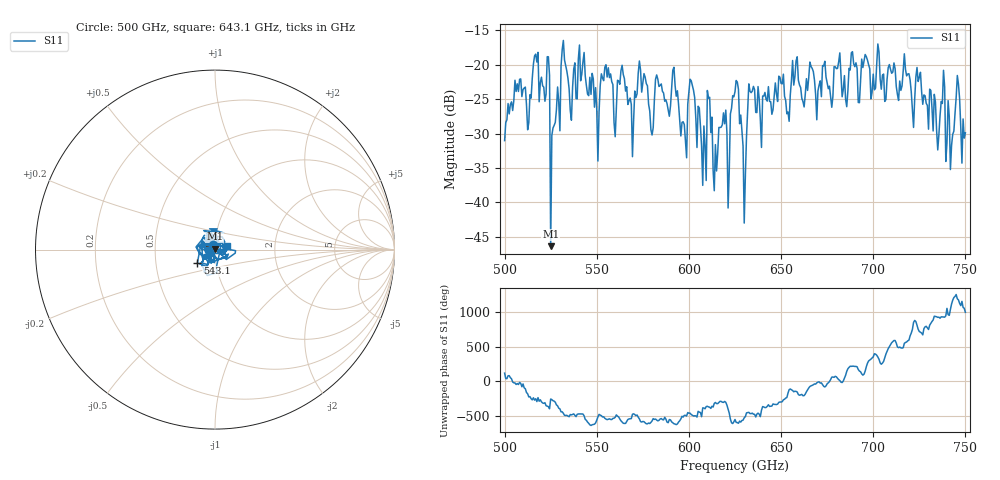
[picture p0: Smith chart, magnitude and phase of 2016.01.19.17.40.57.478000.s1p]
!Created with skrf (http://scikit-rf.org).
# GHz S RI R 50.0
!freq ReS11 ImS11
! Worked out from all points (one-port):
!   401 points, 500 GHz to 750 GHz, reference 50 ohm
!   lowest |S11| = -46.4 dB at 525 GHz (marker M1), VSWR 1.01, Z = 49.9 + j0.472 ohm
!   |S11| at or under -10 dB: start of sweep to end of sweep
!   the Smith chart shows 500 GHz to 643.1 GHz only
!   S11 on the Smith chart (normalised r, x): 500 GHz: 0.97, +0.05; 543.1 GHz: 0.81, -0.12; 643.1 GHz: 1.14, +0.05
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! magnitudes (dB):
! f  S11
! 500 GHz  -31.0
! 506.9 GHz  -22.8
! 513.1 GHz  -28.4
! 516.9 GHz  -18.4
! 523.1 GHz  -18.8
! 525 GHz  -46.4
! 531.2 GHz  -17.8
! 543.1 GHz  -18.2
! 550 GHz  -26.5
! 562.5 GHz  -22.8
! 568.8 GHz  -25.8
! 573.8 GHz  -20.8
! 579.4 GHz  -29.4
! 593.8 GHz  -23.8
! 597.5 GHz  -28.7
! 601.9 GHz  -23.0
! 608.1 GHz  -28.9
! 611.2 GHz  -24.7
! 614.4 GHz  -31.6
! 621.9 GHz  -35.4
! 625 GHz  -23.9
! 630 GHz  -43.0
! 633.8 GHz  -24.0
! 643.1 GHz  -23.2
! 656.2 GHz  -19.4
! 687.5 GHz  -20.8
! 718.8 GHz  -21.3
! 750 GHz  -29.9
